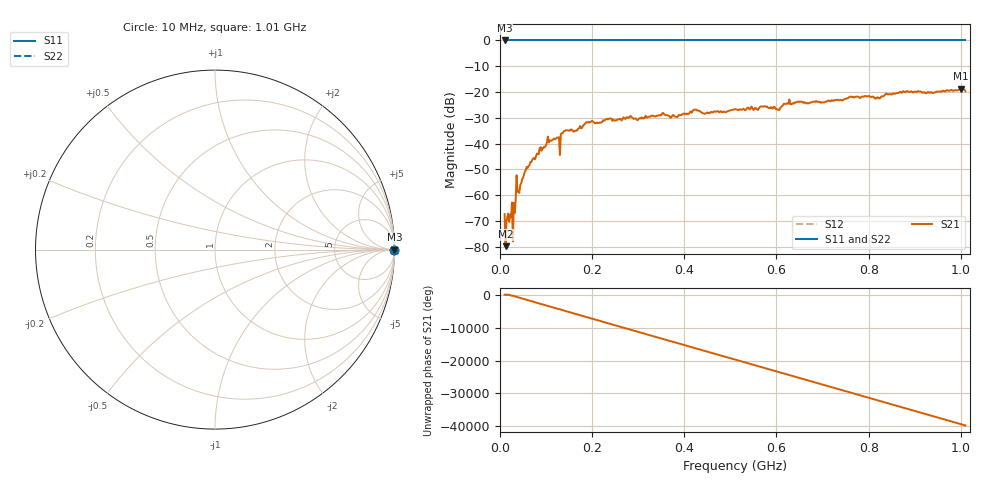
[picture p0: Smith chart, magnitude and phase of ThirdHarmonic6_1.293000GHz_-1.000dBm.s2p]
! 8/16/2025 2:10:07 PM
! C:\ANRITSUVNA\TEMP\TEMP.S2P
! CHANNEL.1
! TR.MEASUREMENT
! RAW.DATA
! RF.CORRECTION.OFF
! AVERAGING.OFF
! IF.BANDWIDTH: 5KHZ
! SWEEPTYPE:  FREQ.SWEEP(Linear)
! Reference Plane Port Info
! PORT:  PORT1  PORT2
! DISTANCE:  0  m  0  m
! TIME:  0  s  0  s
! PHASE.OFFSET:  0  deg.  0  deg.
! LOSS:  0  dB  0  dB
! REF.LOSS:  0  dB  0  dB
! REF.FREQ:  0  Hz  0  Hz
! Power Info
! POWER:  -20  dBm  -20  dBm
! EFF.POWER:  -20  dBm  -20  dBm
! SOURCE.ATTEN:  0  dB  0  dB
! TEST.ATTEN:  0  dB  0  dB
# GHZ S RI R 50.0
! FREQ.GHZ  S11RE  S11IM  S21RE  S21IM  S12RE  S12IM  S22RE  S22IM
!; PortSelection: Port_12
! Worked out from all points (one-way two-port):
!   501 points, 10 MHz to 1.01 GHz, reference 50 ohm
!   highest |S21| = -18.62 dB at 1 GHz (marker M1); lowest = -79.7 dB at 12 MHz (marker M2)
!   lowest |S11| = 0.0 dB at 10 MHz (marker M3)
!   |S11| at or under -10 dB: nowhere
!   |S22| runs from 0.0 to 0.0 dB; largest |S21 - S12| = 1.1
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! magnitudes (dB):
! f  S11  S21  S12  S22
! 10 MHz  0.0  -67.3  0.0  0.0
! 12 MHz  0.0  -79.7  0.0  0.0
! 16 MHz  0.0  -68.4  0.0  0.0
! 22 MHz  0.0  -67.5  0.0  0.0
! 24 MHz  0.0  -68.5  0.0  0.0
! 28 MHz  0.0  -77.8  0.0  0.0
! 34 MHz  0.0  -61.8  0.0  0.0
! 54 MHz  0.0  -50.9  0.0  0.0
! 84 MHz  0.0  -44.1  0.0  0.0
! 106 MHz  0.0  -39.5  0.0  0.0
! 126 MHz  0.0  -37.6  0.0  0.0
! 142 MHz  0.0  -35.0  0.0  0.0
! 178 MHz  0.0  -33.9  0.0  0.0
! 234 MHz  0.0  -30.6  0.0  0.0
! 344 MHz  0.0  -29.0  0.0  0.0
! 510 MHz  0.0  -26.6  0.0  0.0
! 602 MHz  0.0  -26.6  0.0  0.0
! 624 MHz  0.0  -24.4  0.0  0.0
! 678 MHz  0.0  -23.8  0.0  0.0
! 844 MHz  0.0  -20.8  0.0  0.0
! 1 GHz  0.0  -18.6  0.0  0.0
! 1.01 GHz  0.0  -19.6  0.0  0.0
